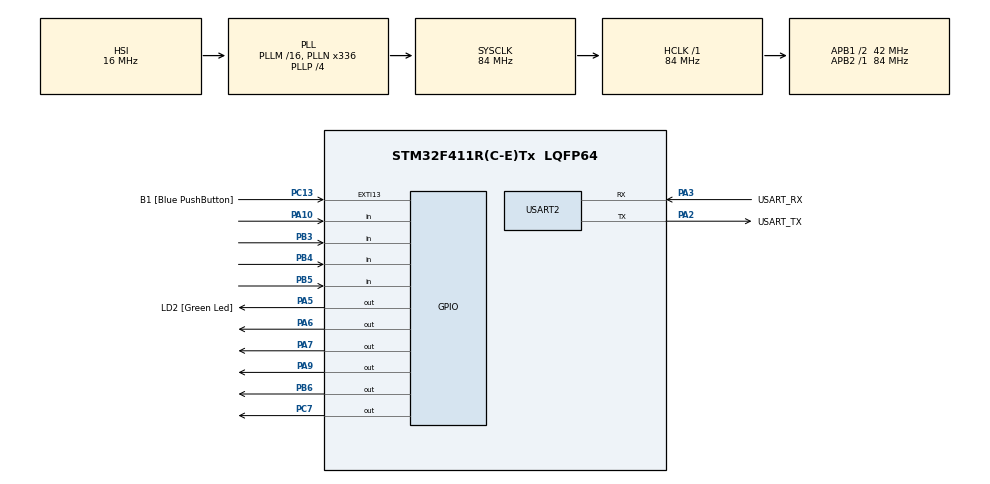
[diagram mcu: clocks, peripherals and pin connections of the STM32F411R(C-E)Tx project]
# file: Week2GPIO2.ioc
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Mcu.Family=STM32F4
Mcu.Name=STM32F411R(C-E)Tx
Mcu.Package=LQFP64
NVIC.PriorityGroup=NVIC_PRIORITYGROUP_0
PA10.GPIO_PuPd=GPIO_PULLUP
PA10.Signal=GPIO_Input
PA13.GPIO_Label=TMS
PA13.Mode=Serial_Wire
PA13.Signal=SYS_JTMS-SWDIO
PA14.GPIO_Label=TCK
PA14.Mode=Serial_Wire
PA14.Signal=SYS_JTCK-SWCLK
PA2.GPIO_Label=USART_TX
PA2.Mode=Asynchronous
PA2.Signal=USART2_TX
PA3.GPIO_Label=USART_RX
PA3.Mode=Asynchronous
PA3.Signal=USART2_RX
PA5.GPIO_Label=LD2 [Green Led]
PA5.Signal=GPIO_Output
PA6.Signal=GPIO_Output
PA7.GPIO_ModeDefaultOutputPP=GPIO_MODE_OUTPUT_OD
PA7.Signal=GPIO_Output
PA9.GPIO_ModeDefaultOutputPP=GPIO_MODE_OUTPUT_OD
PA9.Signal=GPIO_Output
PB3.GPIO_PuPd=GPIO_PULLUP
PB3.Signal=GPIO_Input
PB4.GPIO_PuPd=GPIO_PULLUP
PB4.Signal=GPIO_Input
PB5.GPIO_PuPd=GPIO_PULLUP
PB5.Signal=GPIO_Input
PB6.GPIO_ModeDefaultOutputPP=GPIO_MODE_OUTPUT_OD
PB6.Signal=GPIO_Output
PC13-ANTI_TAMP.GPIO_Label=B1 [Blue PushButton]
PC13-ANTI_TAMP.GPIO_ModeDefaultEXTI=GPIO_MODE_IT_FALLING
PC13-ANTI_TAMP.Signal=GPXTI13
PC14-OSC32_IN.Mode=LSE-External-Oscillator
PC14-OSC32_IN.Signal=RCC_OSC32_IN
PC15-OSC32_OUT.Mode=LSE-External-Oscillator
PC15-OSC32_OUT.Signal=RCC_OSC32_OUT
PC7.GPIO_ModeDefaultOutputPP=GPIO_MODE_OUTPUT_OD
PC7.Signal=GPIO_Output
PH0\ -\ OSC_IN.Mode=HSE-External-Clock-Source
PH0\ -\ OSC_IN.Signal=RCC_OSC_IN
PH1\ -\ OSC_OUT.Mode=HSE-External-Clock-Source
PH1\ -\ OSC_OUT.Signal=RCC_OSC_OUT
ProjectManager.HeapSize=0x200
ProjectManager.StackSize=0x400
ProjectManager.TargetToolchain=STM32CubeIDE
RCC.48MHZClocksFreq_Value=84000000
RCC.AHBFreq_Value=84000000
RCC.APB1CLKDivider=RCC_HCLK_DIV2
RCC.APB1Freq_Value=42000000
RCC.APB1TimFreq_Value=84000000
RCC.APB2Freq_Value=84000000
RCC.APB2TimFreq_Value=84000000
RCC.CortexFreq_Value=84000000
RCC.FLatency-AdvancedSettings=FLASH_LATENCY_2
RCC.HCLKFreq_Value=84000000
RCC.HSE_VALUE=8000000
RCC.HSI_VALUE=16000000
RCC.PLLN=336
RCC.PLLP=RCC_PLLP_DIV4
RCC.SYSCLKFreq_VALUE=84000000
RCC.SYSCLKSource=RCC_SYSCLKSOURCE_PLLCLK
RCC.VCOOutputFreq_Value=336000000
USART2.VirtualMode=VM_ASYNC
board=NUCLEO-F411RE

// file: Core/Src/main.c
/* USER CODE BEGIN Header */
/**
  ******************************************************************************
  * @file           : main.c
  * @brief          : Main program body
  ******************************************************************************
  * @attention
  *
  * <h2><center>&copy; Copyright (c) 2021 STMicroelectronics.
  * All rights reserved.</center></h2>
  *
  * This software component is licensed by ST under BSD 3-Clause license,
  * the "License"; You may not use this file except in compliance with the
  * License. You may obtain a copy of the License at:
  *                        opensource.org/licenses/BSD-3-Clause
  *
  ******************************************************************************
  */
/* USER CODE END Header */
#include "main.h"

UART_HandleTypeDef huart2;

/* USER CODE BEGIN PV */
// save status of ButtonMatrix
uint16_t ButtonMatrixState = 0;

//Button TimeStamp
uint32_t ButtonMatrixTimeStamp = 0;
/* USER CODE END PV */

void SystemClock_Config(void);
static void MX_GPIO_Init(void);
static void MX_USART2_UART_Init(void);
/* USER CODE BEGIN PFP */
// scan and update ButtonMatrix
void ButtonMatrixUpdate();
/* USER CODE END PFP */

int main(void)
{

  /* MCU Configuration--------------------------------------------------------*/

  /* Reset of all peripherals, Initializes the Flash interface and the Systick. */
  HAL_Init();

  /* Configure the system clock */
  SystemClock_Config();

  /* Initialize all configured peripherals */
  MX_GPIO_Init();
  MX_USART2_UART_Init();
  /* USER CODE BEGIN 2 */
  HAL_GPIO_WritePin(GPIOA, GPIO_PIN_6, GPIO_PIN_SET);

  /* USER CODE END 2 */

  /* Infinite loop */
  while (1)
  {

    /* USER CODE BEGIN 3 */
	  ButtonMatrixUpdate();
  }
  /* USER CODE END 3 */
}

void SystemClock_Config(void)
{
  RCC_OscInitTypeDef RCC_OscInitStruct = {0};
  RCC_ClkInitTypeDef RCC_ClkInitStruct = {0};

  /** Configure the main internal regulator output voltage
  */
  __HAL_RCC_PWR_CLK_ENABLE();
  __HAL_PWR_VOLTAGESCALING_CONFIG(PWR_REGULATOR_VOLTAGE_SCALE1);
  /** Initializes the RCC Oscillators according to the specified parameters
  * in the RCC_OscInitTypeDef structure.
  */
  RCC_OscInitStruct.OscillatorType = RCC_OSCILLATORTYPE_HSI;
  RCC_OscInitStruct.HSIState = RCC_HSI_ON;
  RCC_OscInitStruct.HSICalibrationValue = RCC_HSICALIBRATION_DEFAULT;
  RCC_OscInitStruct.PLL.PLLState = RCC_PLL_ON;
  RCC_OscInitStruct.PLL.PLLSource = RCC_PLLSOURCE_HSI;
  RCC_OscInitStruct.PLL.PLLM = 16;
  RCC_OscInitStruct.PLL.PLLN = 336;
  RCC_OscInitStruct.PLL.PLLP = RCC_PLLP_DIV4;
  RCC_OscInitStruct.PLL.PLLQ = 4;
  if (HAL_RCC_OscConfig(&RCC_OscInitStruct) != HAL_OK)
  {
    Error_Handler();
  }
  /** Initializes the CPU, AHB and APB buses clocks
  */
  RCC_ClkInitStruct.ClockType = RCC_CLOCKTYPE_HCLK|RCC_CLOCKTYPE_SYSCLK
                              |RCC_CLOCKTYPE_PCLK1|RCC_CLOCKTYPE_PCLK2;
  RCC_ClkInitStruct.SYSCLKSource = RCC_SYSCLKSOURCE_PLLCLK;
  RCC_ClkInitStruct.AHBCLKDivider = RCC_SYSCLK_DIV1;
  RCC_ClkInitStruct.APB1CLKDivider = RCC_HCLK_DIV2;
  RCC_ClkInitStruct.APB2CLKDivider = RCC_HCLK_DIV1;

  if (HAL_RCC_ClockConfig(&RCC_ClkInitStruct, FLASH_LATENCY_2) != HAL_OK)
  {
    Error_Handler();
  }
}

static void MX_USART2_UART_Init(void)
{

  huart2.Instance = USART2;
  huart2.Init.BaudRate = 115200;
  huart2.Init.WordLength = UART_WORDLENGTH_8B;
  huart2.Init.StopBits = UART_STOPBITS_1;
  huart2.Init.Parity = UART_PARITY_NONE;
  huart2.Init.Mode = UART_MODE_TX_RX;
  huart2.Init.HwFlowCtl = UART_HWCONTROL_NONE;
  huart2.Init.OverSampling = UART_OVERSAMPLING_16;
  if (HAL_UART_Init(&huart2) != HAL_OK)
  {
    Error_Handler();
  }

}

static void MX_GPIO_Init(void)
{
  GPIO_InitTypeDef GPIO_InitStruct = {0};

  /* GPIO Ports Clock Enable */
  __HAL_RCC_GPIOC_CLK_ENABLE();
  __HAL_RCC_GPIOH_CLK_ENABLE();
  __HAL_RCC_GPIOA_CLK_ENABLE();
  __HAL_RCC_GPIOB_CLK_ENABLE();

  /*Configure GPIO pin Output Level */
  HAL_GPIO_WritePin(GPIOA, LD2_Pin|GPIO_PIN_6|GPIO_PIN_7|GPIO_PIN_9, GPIO_PIN_RESET);

  /*Configure GPIO pin Output Level */
  HAL_GPIO_WritePin(GPIOC, GPIO_PIN_7, GPIO_PIN_RESET);

  /*Configure GPIO pin Output Level */
  HAL_GPIO_WritePin(GPIOB, GPIO_PIN_6, GPIO_PIN_RESET);

  /*Configure GPIO pin : B1_Pin */
  GPIO_InitStruct.Pin = B1_Pin;
  GPIO_InitStruct.Mode = GPIO_MODE_IT_FALLING;
  GPIO_InitStruct.Pull = GPIO_NOPULL;
  HAL_GPIO_Init(B1_GPIO_Port, &GPIO_InitStruct);

  /*Configure GPIO pins : LD2_Pin PA6 */
  GPIO_InitStruct.Pin = LD2_Pin|GPIO_PIN_6;
  GPIO_InitStruct.Mode = GPIO_MODE_OUTPUT_PP;
  GPIO_InitStruct.Pull = GPIO_NOPULL;
  GPIO_InitStruct.Speed = GPIO_SPEED_FREQ_LOW;
  HAL_GPIO_Init(GPIOA, &GPIO_InitStruct);

  /*Configure GPIO pins : PA7 PA9 */
  GPIO_InitStruct.Pin = GPIO_PIN_7|GPIO_PIN_9;
  GPIO_InitStruct.Mode = GPIO_MODE_OUTPUT_OD;
  GPIO_InitStruct.Pull = GPIO_NOPULL;
  GPIO_InitStruct.Speed = GPIO_SPEED_FREQ_LOW;
  HAL_GPIO_Init(GPIOA, &GPIO_InitStruct);

  /*Configure GPIO pin : PC7 */
  GPIO_InitStruct.Pin = GPIO_PIN_7;
  GPIO_InitStruct.Mode = GPIO_MODE_OUTPUT_OD;
  GPIO_InitStruct.Pull = GPIO_NOPULL;
  GPIO_InitStruct.Speed = GPIO_SPEED_FREQ_LOW;
  HAL_GPIO_Init(GPIOC, &GPIO_InitStruct);

  /*Configure GPIO pin : PA10 */
  GPIO_InitStruct.Pin = GPIO_PIN_10;
  GPIO_InitStruct.Mode = GPIO_MODE_INPUT;
  GPIO_InitStruct.Pull = GPIO_PULLUP;
  HAL_GPIO_Init(GPIOA, &GPIO_InitStruct);

  /*Configure GPIO pins : PB3 PB4 PB5 */
  GPIO_InitStruct.Pin = GPIO_PIN_3|GPIO_PIN_4|GPIO_PIN_5;
  GPIO_InitStruct.Mode = GPIO_MODE_INPUT;
  GPIO_InitStruct.Pull = GPIO_PULLUP;
  HAL_GPIO_Init(GPIOB, &GPIO_InitStruct);

  /*Configure GPIO pin : PB6 */
  GPIO_InitStruct.Pin = GPIO_PIN_6;
  GPIO_InitStruct.Mode = GPIO_MODE_OUTPUT_OD;
  GPIO_InitStruct.Pull = GPIO_NOPULL;
  GPIO_InitStruct.Speed = GPIO_SPEED_FREQ_LOW;
  HAL_GPIO_Init(GPIOB, &GPIO_InitStruct);

}

/* USER CODE BEGIN 4 */
//port/pin array, 0-3 input, 4-7 output
GPIO_TypeDef* ButtonMatrixPort[8] = {GPIOA, GPIOB, GPIOB, GPIOB, GPIOA, GPIOC, GPIOB, GPIOA};

uint16_t ButtonMatrixPin[8] = {GPIO_PIN_10, GPIO_PIN_3, GPIO_PIN_5, GPIO_PIN_4, GPIO_PIN_9, GPIO_PIN_7,GPIO_PIN_6, GPIO_PIN_7};

uint32_t DataMyID[11] = {64, 512, 1024, 16, 4096, 32, 4096, 4096, 4096, 4096, 32}; // My ID is 62340500005

uint32_t DataMemory[11] = {0}; // Storage data that input

uint16_t DataPostman = 0; // Save data that input and bring them to DataMemory

uint8_t DataCount = 0; // Count data that input to storage(DataMemory)

uint8_t CheckCount = 0; // Count evaluation between data in DataMemory and data in DataMyID

uint8_t ButtonMatrixRow = 0; // What R now
void ButtonMatrixUpdate()
{
	if(HAL_GetTick() - ButtonMatrixTimeStamp >= 100)
	{
		ButtonMatrixTimeStamp = HAL_GetTick();
		int i;
		for(i = 0;i<4;i+=1)
		{ // 0-3
			GPIO_PinState PinState = HAL_GPIO_ReadPin(ButtonMatrixPort[i], ButtonMatrixPin[i]);
			if(PinState == GPIO_PIN_RESET) // Button press
			{
				ButtonMatrixState |= (uint16_t)1 << (i + ButtonMatrixRow * 4);	//0b00000000000000000000000000 | 0b1000
				DataPostman = ButtonMatrixState;
				if(DataPostman == 8) // Press to clear
				{
					DataPostman = 0;
					DataCount = 0;
					CheckCount = 0;
					HAL_GPIO_WritePin(GPIOA, GPIO_PIN_6, GPIO_PIN_SET);
					// Clear DataMemory
					int j;
					for(j = 0;j<11;j+=1)
					{
						DataMemory[j] = 0;
					}
				}
				else if(DataPostman == 32768) // Press to OK
				{
					// Check Data input
					int k;
					for(k = 0;k<11;k+=1)
					{
						if(DataMyID[k] == DataMemory[k])
						{
							CheckCount += 1;
						}
					}
					if(CheckCount == 11) // Check that all of data is true.
					{
						HAL_GPIO_WritePin(GPIOA, GPIO_PIN_6, GPIO_PIN_RESET);
					}
				}
				else // Press to enter data
				{
					if(DataCount == 11)
					{
						DataCount += 0;
					}
					else
					{
						DataPostman = ButtonMatrixState;
						DataMemory[DataCount] = DataPostman;
						DataCount += 1;
					}
				}
			}
			else
			{
				ButtonMatrixState &= ~((uint16_t)1 << (i + ButtonMatrixRow * 4));	//0b00000000000000000000000000 & ~(0b1000)
			}
		}
		uint8_t NowOutputPin = ButtonMatrixRow + 4;

		// Ste Rn
		HAL_GPIO_WritePin(ButtonMatrixPort[NowOutputPin],
				ButtonMatrixPin[NowOutputPin], GPIO_PIN_SET);

		// Update New Row
		ButtonMatrixRow = (ButtonMatrixRow + 1) % 4;

		uint8_t NextOutputPin = ButtonMatrixRow + 4;

		// Reset Rn+1
		HAL_GPIO_WritePin(ButtonMatrixPort[NextOutputPin],
				ButtonMatrixPin[NextOutputPin], GPIO_PIN_RESET);

	}
}
/* USER CODE END 4 */

void Error_Handler(void)
{
  __disable_irq();
  while (1)
  {
  }
}

/************************ (C) COPYRIGHT STMicroelectronics *****END OF FILE****/
